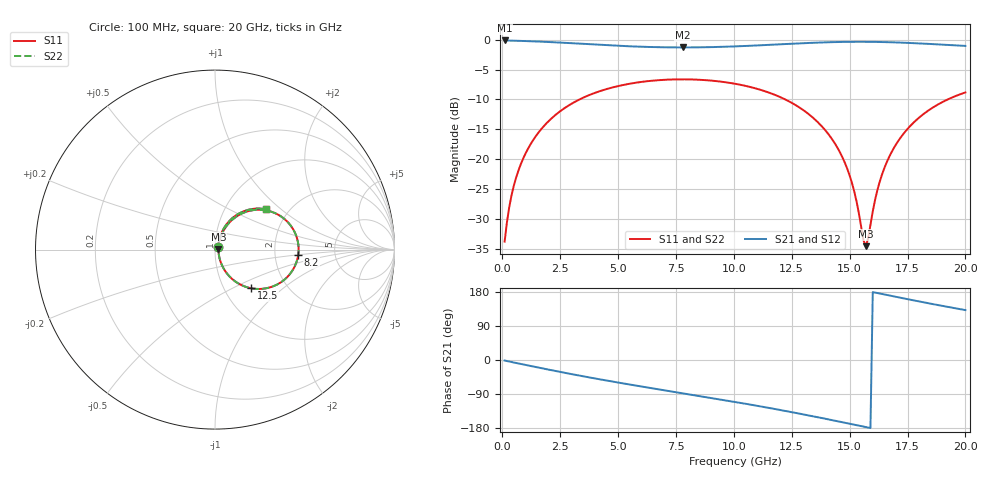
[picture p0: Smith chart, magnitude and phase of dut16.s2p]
! Touchstone file exported from HFSS 2026.1.0
!  File:  C:/ffzhzh/LocalFiles/Ansys_Project_Files/temp_train_TSV_RDL_16_1782962157_45308.aedt
!  Generated:  11:25:43 AM Jul  2, 2026
!  Design:  TSV_RDL
!  Project:  temp_train_TSV_RDL_16_1782962157_45308
! Variables:
!  h_bsmrdl = 2.24um
!  h_ox = 20um
!  h_rdl = 5um
!  h_sub = 52.33um
!  h_tmrdl = 4.7um
!  h_tsv = 52.33um
!  h_via = 3um
!  l_bsmrdl = 524.99um
!  l_sub = 4059.14um
!  l_tmrdl = 482.65um
!  m_sub = 200um
!  pitch = 47.47um
!  r_tsv = 9.55um
!  s_tmrdl = 10um
!  w_bsmrdl = 27.18um
!  w_sub = 500um
!  w_tmrdl = 24.01um
!  x_tsv_center1 = 494.655um
!  x_tsv_center2 = 1046.825um
!  x_tsv_center3 = 1553.485um
!  x_tsv_center4 = 2105.655um
!  x_tsv_center5 = 2612.315um
!  x_tsv_center6 = 3164.485um
# GHz S MA R 50.000000
! Terminal data exported
! Port[1] = TM_RDL1_1_T1
! Port[2] = TM_RDL5_1_T1
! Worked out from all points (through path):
!   200 points, 100 MHz to 20 GHz, reference 50 ohm
!   highest |S21| = -0.14 dB at 100 MHz (marker M1); lowest = -1.3 dB at 7.8 GHz (marker M2)
!   group delay of S21, straight-line fit = 31 ps
!   lowest |S11| = -34.5 dB at 15.7 GHz (marker M3), VSWR 1.04, Z = 51.9 + j0.131 ohm
!   |S11| at or under -10 dB: start of sweep to 3.335 GHz; 12.22 GHz to 19.24 GHz (7.016 GHz wide, 44.6 % of centre)
!   |S22| runs from -34.4 to -6.6 dB; largest |S21 - S12| = 5.6e-14
!   S11 on the Smith chart (normalised r, x): 100 MHz: 1.03, +0.02; 8.2 GHz: 2.72, -0.21; 12.5 GHz: 1.34, -0.63; 20 GHz: 1.54, +0.80
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0.1  0.02056 35.5  0.9835 -1.4  0.9835 -1.4  0.02056 35.5
! Gamma 0 0 0 0
! Port Impedance 50 0 50 0
0.3  0.03992 58.8  0.9812 -4.0  0.9812 -4.0  0.03993 58.8
0.5  0.06046 64.4  0.9785 -6.6  0.9785 -6.6  0.06046 64.4
1.1  0.1216 65.5  0.9708 -14.2  0.9708 -14.2  0.1216 65.5
2.1  0.2175 57.3  0.9529 -26.6  0.9529 -26.6  0.2175 57.3
3.5  0.3276 42.7  0.9203 -43.1  0.9203 -43.1  0.3276 42.7
5.1  0.4131 26.3  0.8857 -60.5  0.8857 -60.5  0.4131 26.3
6.8  0.459 9.7  0.8635 -77.9  0.8635 -77.9  0.4589 9.7
7.8  0.4658 0.1  0.8599 -87.9  0.8599 -87.9  0.4658 0.1
8.2  0.4645 -3.7  0.8605 -91.9  0.8605 -91.9  0.4645 -3.7
10.1  0.426 -22.1  0.878 -111.2  0.878 -111.2  0.426 -22.1
12.5  0.2963 -46.7  0.9234 -137.6  0.9234 -137.6  0.2963 -46.7
13.4  0.2242 -56.0  0.9402 -148.3  0.9402 -148.3  0.2242 -56.0
14.2  0.1514 -63.2  0.9516 -158.1  0.9516 -158.1  0.1513 -63.2
14.8  0.09304 -66.0  0.957 -165.6  0.957 -165.6  0.09299 -66.0
15.2  0.0539 -62.2  0.9587 -170.7  0.9587 -170.7  0.05387 -62.0
15.6  0.02104 -24.2  0.9588 -175.7  0.9588 -175.7  0.02112 -23.8
15.7  0.01883 3.9  0.9586 -177.0  0.9586 -177.0  0.01896 4.1
16.2  0.05539 65.2  0.956 176.7  0.956 176.7  0.05551 65.1
16.7  0.104 68.5  0.951 170.4  0.951 170.4  0.1041 68.4
18  0.2231 58.6  0.9293 154.5  0.9293 154.5  0.2232 58.6
20  0.362 38.3  0.8857 131.7  0.8857 131.7  0.362 38.3
